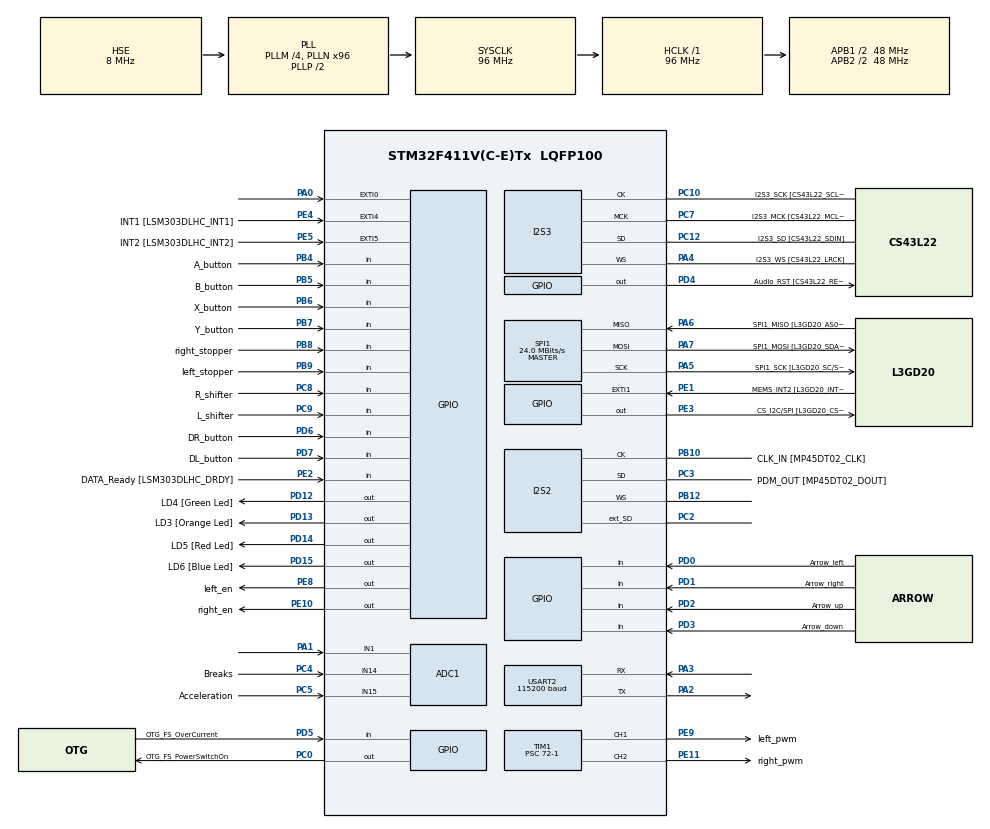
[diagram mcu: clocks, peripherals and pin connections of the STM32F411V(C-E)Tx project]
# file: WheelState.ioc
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ADC1.Channel-0\#ChannelRegularConversion=ADC_CHANNEL_1
ADC1.Channel-6\#ChannelRegularConversion=ADC_CHANNEL_14
ADC1.Channel-7\#ChannelRegularConversion=ADC_CHANNEL_15
ADC1.ContinuousConvMode=DISABLE
ADC1.DiscontinuousConvMode=DISABLE
ADC1.InjNumberOfConversion=0
ADC1.NbrOfConversion=3
ADC1.NbrOfConversionFlag=1
ADC1.Rank-6\#ChannelRegularConversion=2
ADC1.Rank-7\#ChannelRegularConversion=3
ADC1.SamplingTime-6\#ChannelRegularConversion=ADC_SAMPLETIME_480CYCLES
ADC1.SamplingTime-7\#ChannelRegularConversion=ADC_SAMPLETIME_480CYCLES
ADC1.master=1
Dma.ADC1.0.Direction=DMA_PERIPH_TO_MEMORY
Dma.ADC1.0.FIFOMode=DMA_FIFOMODE_DISABLE
Dma.ADC1.0.Instance=DMA2_Stream0
Dma.ADC1.0.MemDataAlignment=DMA_MDATAALIGN_HALFWORD
Dma.ADC1.0.MemInc=DMA_MINC_ENABLE
Dma.ADC1.0.Mode=DMA_CIRCULAR
Dma.ADC1.0.PeriphDataAlignment=DMA_PDATAALIGN_HALFWORD
Dma.ADC1.0.PeriphInc=DMA_PINC_DISABLE
Dma.ADC1.0.Priority=DMA_PRIORITY_LOW
Dma.Request0=ADC1
I2S2.AudioFreq=I2S_AUDIOFREQ_96K
I2S2.ErrorAudioFreq=-0.79 %
I2S2.FullDuplexMode=I2S_FULLDUPLEXMODE_ENABLE
I2S2.Instance=SPI$Index
I2S2.RealAudioFreq=95.238 KHz
I2S2.VirtualMode=I2S_MODE_MASTER
I2S3.AudioFreq=I2S_AUDIOFREQ_96K
I2S3.ErrorAudioFreq=-2.34 %
I2S3.FullDuplexMode=I2S_FULLDUPLEXMODE_DISABLE
I2S3.Instance=SPI$Index
I2S3.RealAudioFreq=93.75 KHz
I2S3.VirtualMode=I2S_MODE_MASTER
Mcu.Family=STM32F4
Mcu.Name=STM32F411V(C-E)Tx
Mcu.Package=LQFP100
NVIC.ADC_IRQn=true\:0\:0\:false\:false\:true\:true\:true\:true
NVIC.DMA2_Stream0_IRQn=true\:0\:0\:false\:false\:true\:false\:true\:true
NVIC.PriorityGroup=NVIC_PRIORITYGROUP_0
PA0-WKUP.GPIO_ModeDefaultEXTI=GPIO_MODE_EVT_RISING
PA0-WKUP.Signal=GPXTI0
PA1.Signal=ADCx_IN1
PA10.GPIO_Label=OTG_FS_ID
PA10.Signal=USB_OTG_FS_ID
PA11.GPIO_Label=OTG_FS_DM
PA11.Signal=USB_OTG_FS_DM
PA12.GPIO_Label=OTG_FS_DP
PA12.Signal=USB_OTG_FS_DP
PA13.GPIO_Label=SWDIO
PA13.Mode=Serial_Wire
PA13.Signal=SYS_JTMS-SWDIO
PA14.GPIO_Label=SWCLK
PA14.Mode=Serial_Wire
PA14.Signal=SYS_JTCK-SWCLK
PA2.Mode=Asynchronous
PA2.Signal=USART2_TX
PA3.Mode=Asynchronous
PA3.Signal=USART2_RX
PA4.GPIO_Label=I2S3_WS [CS43L22_LRCK]
PA4.GPIO_Mode=GPIO_MODE_AF_PP
PA4.GPIO_PuPd=GPIO_NOPULL
PA4.GPIO_Speed=GPIO_SPEED_FREQ_LOW
PA4.Mode=Half_Duplex_Master
PA4.Signal=I2S3_WS
PA5.GPIO_Label=SPI1_SCK [L3GD20_SC/SPC]
PA5.Mode=Full_Duplex_Master
PA5.Signal=SPI1_SCK
PA6.GPIO_Label=SPI1_MISO [L3GD20_AS0/SDO]
PA6.Mode=Full_Duplex_Master
PA6.Signal=SPI1_MISO
PA7.GPIO_Label=SPI1_MOSI [L3GD20_SDA/SDI/SDO]
PA7.Mode=Full_Duplex_Master
PA7.Signal=SPI1_MOSI
PA9.GPIO_Label=VBUS_FS
PA9.Signal=USB_OTG_FS_VBUS
PB10.GPIO_Label=CLK_IN [MP45DT02_CLK]
PB10.Mode=Full_Duplex_Master
PB10.Signal=I2S2_CK
PB12.Mode=Full_Duplex_Master
PB12.Signal=I2S2_WS
PB3.GPIO_Label=SWO
PB3.Signal=SYS_JTDO-SWO
PB4.GPIO_Label=A_button
PB4.GPIO_PuPd=GPIO_PULLUP
PB4.Signal=GPIO_Input
PB5.GPIO_Label=B_button
PB5.GPIO_PuPd=GPIO_PULLUP
PB5.Signal=GPIO_Input
PB6.GPIO_Label=X_button
PB6.GPIO_PuPd=GPIO_PULLUP
PB6.Signal=GPIO_Input
PB7.GPIO_Label=Y_button
PB7.GPIO_PuPd=GPIO_PULLUP
PB7.Signal=GPIO_Input
PB8.GPIO_Label=right_stopper
PB8.GPIO_PuPd=GPIO_PULLUP
PB8.Signal=GPIO_Input
PB9.GPIO_Label=left_stopper
PB9.GPIO_PuPd=GPIO_PULLUP
PB9.Signal=GPIO_Input
PC0.GPIO_Label=OTG_FS_PowerSwitchOn
PC0.PinState=GPIO_PIN_SET
PC0.Signal=GPIO_Output
PC10.GPIO_Label=I2S3_SCK [CS43L22_SCLK]
PC10.GPIO_Mode=GPIO_MODE_AF_PP
PC10.GPIO_PuPd=GPIO_NOPULL
PC10.GPIO_Speed=GPIO_SPEED_FREQ_LOW
PC10.Mode=Half_Duplex_Master
PC10.Signal=I2S3_CK
PC12.GPIO_Label=I2S3_SD [CS43L22_SDIN]
PC12.GPIO_Mode=GPIO_MODE_AF_PP
PC12.GPIO_PuPd=GPIO_NOPULL
PC12.GPIO_Speed=GPIO_SPEED_FREQ_LOW
PC12.Mode=Half_Duplex_Master
PC12.Signal=I2S3_SD
PC14-OSC32_IN.GPIO_Label=PC14-OSC32_IN
PC14-OSC32_IN.Signal=RCC_OSC32_IN
PC15-OSC32_OUT.GPIO_Label=PC15-OSC32_OUT
PC15-OSC32_OUT.Signal=RCC_OSC32_OUT
PC2.Mode=Full_Duplex_Master
PC2.Signal=I2S2_ext_SD
PC3.GPIO_Label=PDM_OUT [MP45DT02_DOUT]
PC3.Mode=Full_Duplex_Master
PC3.Signal=I2S2_SD
PC4.GPIO_Label=Breaks
PC4.Signal=ADCx_IN14
PC5.GPIO_Label=Acceleration
PC5.Signal=ADCx_IN15
PC7.GPIO_Label=I2S3_MCK [CS43L22_MCLK]
PC7.GPIO_Mode=GPIO_MODE_AF_PP
PC7.GPIO_PuPd=GPIO_NOPULL
PC7.GPIO_Speed=GPIO_SPEED_FREQ_LOW
PC7.Mode=Master_Clock_Activated
PC7.Signal=I2S3_MCK
PC8.GPIO_Label=R_shifter
PC8.GPIO_PuPd=GPIO_PULLDOWN
PC8.Signal=GPIO_Input
PC9.GPIO_Label=L_shifter
PC9.GPIO_PuPd=GPIO_PULLDOWN
PC9.Signal=GPIO_Input
PD0.GPIO_Label=Arrow_left
PD0.GPIO_PuPd=GPIO_PULLUP
PD0.Signal=GPIO_Input
PD1.GPIO_Label=Arrow_right
PD1.GPIO_PuPd=GPIO_PULLUP
PD1.Signal=GPIO_Input
PD12.GPIO_Label=LD4 [Green Led]
PD12.GPIO_PuPd=GPIO_NOPULL
PD12.GPIO_Speed=GPIO_SPEED_FREQ_LOW
PD12.Signal=GPIO_Output
PD13.GPIO_Label=LD3 [Orange Led]
PD13.GPIO_PuPd=GPIO_NOPULL
PD13.GPIO_Speed=GPIO_SPEED_FREQ_LOW
PD13.Signal=GPIO_Output
PD14.GPIO_Label=LD5 [Red Led]
PD14.GPIO_PuPd=GPIO_NOPULL
PD14.GPIO_Speed=GPIO_SPEED_FREQ_LOW
PD14.PinState=GPIO_PIN_SET
PD14.Signal=GPIO_Output
PD15.GPIO_Label=LD6 [Blue Led]
PD15.GPIO_PuPd=GPIO_NOPULL
PD15.GPIO_Speed=GPIO_SPEED_FREQ_LOW
PD15.Signal=GPIO_Output
PD2.GPIO_Label=Arrow_up
PD2.GPIO_PuPd=GPIO_PULLUP
PD2.Signal=GPIO_Input
PD3.GPIO_Label=Arrow_down
PD3.GPIO_PuPd=GPIO_PULLUP
PD3.Signal=GPIO_Input
PD4.GPIO_Label=Audio_RST [CS43L22_RESET]
PD4.Signal=GPIO_Output
PD5.GPIO_Label=OTG_FS_OverCurrent
PD5.Signal=GPIO_Input
PD6.GPIO_Label=DR_button
PD6.GPIO_PuPd=GPIO_PULLUP
PD6.Signal=GPIO_Input
PD7.GPIO_Label=DL_button
PD7.GPIO_PuPd=GPIO_PULLUP
PD7.Signal=GPIO_Input
PE1.GPIO_Label=MEMS_INT2 [L3GD20_INT2]
PE1.GPIO_ModeDefaultEXTI=GPIO_MODE_EVT_RISING
PE1.Signal=GPXTI1
PE10.GPIO_Label=right_en
PE10.Signal=GPIO_Output
PE11.GPIO_Label=right_pwm
PE11.Signal=S_TIM1_CH2
PE2.GPIO_Label=DATA_Ready [LSM303DLHC_DRDY]
PE2.Signal=GPIO_Input
PE3.GPIO_Label=CS_I2C/SPI [L3GD20_CS_I2C/SPI]
PE3.Signal=GPIO_Output
PE4.GPIO_Label=INT1 [LSM303DLHC_INT1]
PE4.GPIO_ModeDefaultEXTI=GPIO_MODE_EVT_RISING
PE4.Signal=GPXTI4
PE5.GPIO_Label=INT2 [LSM303DLHC_INT2]
PE5.GPIO_ModeDefaultEXTI=GPIO_MODE_EVT_RISING
PE5.Signal=GPXTI5
PE8.GPIO_Label=left_en
PE8.Signal=GPIO_Output
PE9.GPIO_Label=left_pwm
PE9.Signal=S_TIM1_CH1
PH0\ -\ OSC_IN.Mode=HSE-External-Oscillator
PH0\ -\ OSC_IN.Signal=RCC_OSC_IN
PH1\ -\ OSC_OUT.Mode=HSE-External-Oscillator
PH1\ -\ OSC_OUT.Signal=RCC_OSC_OUT
ProjectManager.HeapSize=0x200
ProjectManager.StackSize=0x400
ProjectManager.TargetToolchain=STM32CubeIDE
RCC.48MHZClocksFreq_Value=48000000
RCC.AHBFreq_Value=96000000
RCC.APB1CLKDivider=RCC_HCLK_DIV2
RCC.APB1Freq_Value=48000000
RCC.APB1TimFreq_Value=96000000
RCC.APB2CLKDivider=RCC_HCLK_DIV2
RCC.APB2Freq_Value=48000000
RCC.APB2TimFreq_Value=96000000
RCC.CortexFreq_Value=96000000
RCC.HCLKFreq_Value=96000000
RCC.HSE_VALUE=8000000
RCC.HSI_VALUE=16000000
RCC.LSE_VALUE=32768
RCC.PLLI2SM=4
RCC.PLLM=4
RCC.PLLN=96
RCC.PLLSourceVirtual=RCC_PLLSOURCE_HSE
RCC.SYSCLKFreq_VALUE=96000000
RCC.SYSCLKSource=RCC_SYSCLKSOURCE_PLLCLK
RCC.VCOOutputFreq_Value=192000000
SH.ADCx_IN1.0=ADC1_IN1,IN1
SH.ADCx_IN14.0=ADC1_IN14,IN14
SH.ADCx_IN15.0=ADC1_IN15,IN15
SH.S_TIM1_CH1.0=TIM1_CH1,PWM Generation1 CH1
SH.S_TIM1_CH2.0=TIM1_CH2,PWM Generation2 CH2
SPI1.BaudRatePrescaler=SPI_BAUDRATEPRESCALER_2
SPI1.CalculateBaudRate=24.0 MBits/s
SPI1.Direction=SPI_DIRECTION_2LINES
SPI1.Mode=SPI_MODE_MASTER
SPI1.VirtualType=VM_MASTER
TIM1.Channel-PWM\ Generation1\ CH1=TIM_CHANNEL_1
TIM1.Channel-PWM\ Generation2\ CH2=TIM_CHANNEL_2
TIM1.Prescaler=72-1
USART2.BaudRate=115200
USART2.Parity=PARITY_NONE
USART2.VirtualMode=VM_ASYNC
VP_TIM1_VS_ClockSourceINT.Mode=Internal
board=STM32F411E-DISCO

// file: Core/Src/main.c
/* USER CODE BEGIN Header */
/**
  ******************************************************************************
  * @file           : main.c
  * @brief          : Main program body
  ******************************************************************************
  * @attention
  *
  * Copyright (c) 2024 STMicroelectronics.
  * All rights reserved.
  *
  * This software is licensed under terms that can be found in the LICENSE file
  * in the root directory of this software component.
  * If no LICENSE file comes with this software, it is provided AS-IS.
  *
  ******************************************************************************
  */
/* USER CODE END Header */
#include "main.h"

/* USER CODE BEGIN Includes */
#include <string.h>
/* USER CODE END Includes */

/* USER CODE BEGIN PD */
//#define CRC_16 0xFFFF
/* USER CODE END PD */

ADC_HandleTypeDef hadc1;
DMA_HandleTypeDef hdma_adc1;

I2S_HandleTypeDef hi2s2;
I2S_HandleTypeDef hi2s3;

SPI_HandleTypeDef hspi1;

TIM_HandleTypeDef htim1;

UART_HandleTypeDef huart2;

/* USER CODE BEGIN PV */
int MOTOR_LIMITER_DO_NOT_TOUCH = 0.05 * 65535;
/* USER CODE END PV */

void SystemClock_Config(void);
void PeriphCommonClock_Config(void);
static void MX_GPIO_Init(void);
static void MX_DMA_Init(void);
static void MX_I2S2_Init(void);
static void MX_I2S3_Init(void);
static void MX_SPI1_Init(void);
static void MX_ADC1_Init(void);
static void MX_USART2_UART_Init(void);
static void MX_TIM1_Init(void);

/* USER CODE BEGIN 0 */
#pragma pack(1)
typedef struct{
	uint16_t rotation;

	uint8_t left_arr:1;
	uint8_t right_arr:1;
	uint8_t up_arr:1;
	uint8_t down_arr:1;

	uint8_t a_butt:1;
	uint8_t b_butt:1;
	uint8_t x_butt:1;
	uint8_t y_butt:1;

	uint8_t dl_butt:1;
	uint8_t dr_butt:1;

	uint8_t r_shift:1;
	uint8_t l_shift:1;

	uint16_t acceleration;
	uint16_t breaking;
} WheelSystemState;
#pragma pack()
uint16_t get_i(WheelSystemState buffer, int i){
	switch(i){
	case 0: return buffer.rotation;
	case 1: return (uint16_t)buffer.left_arr;
	case 2: return (uint16_t)buffer.right_arr;
	case 3: return (uint16_t)buffer.up_arr;
	case 4: return (uint16_t)buffer.down_arr;
	case 5: return (uint16_t)buffer.a_butt;
	case 6: return (uint16_t)buffer.b_butt;
	case 7: return (uint16_t)buffer.x_butt;
	case 8: return (uint16_t)buffer.y_butt;
	case 9: return (uint16_t)buffer.dl_butt;
	case 10: return (uint16_t)buffer.dr_butt;
	case 11: return (uint16_t)buffer.r_shift;
	case 12: return (uint16_t)buffer.l_shift;
	case 13: return buffer.acceleration;
	case 14: return buffer.breaking;

	}
}

uint16_t calc_crc16_checksum(WheelSystemState buffer){
	uint16_t crc = 0xFFFF;
	for (int i = 1; i <= 7; i++){
		crc ^= get_i(buffer, i);
		for (int j =0; j<8;j++){
			if(crc & 0x0001){
				crc >>=1;
				crc ^=0xA001;
			}else{
				crc >>=1;
			}
		}
	}
	return crc;
}
uint16_t center = 0;
uint16_t delta = 0;
uint16_t left_max = 0;
uint16_t right_max = 0;
uint16_t break_start = 4100;
uint16_t break_end = 1250;
uint16_t acceleration_start = 4100;
uint16_t acceleration_end = 1250;
void send_to_pc(WheelSystemState *state){
	uint8_t buffer[9];

	buffer[0] = (uint8_t)'S';
	memcpy(&buffer[1], &state->rotation, 2);

	buffer[3] = (state->left_arr)?1:0;
	buffer[3] += (state->right_arr)?2:0;
	buffer[3] += (state->down_arr)?4:0;
	buffer[3] += (state->up_arr)?8:0;

	buffer[3] += (state->a_butt)?16:0;
	buffer[3] += (state->b_butt)?32:0;
	buffer[3] += (state->x_butt)?64:0;
	buffer[3] += (state->y_butt)?128:0;

	buffer[4] = (state->dl_butt)?1:0;
	buffer[4] += (state->dr_butt)?2:0;
	buffer[4] += (state->r_shift)?4:0;
	buffer[4] += (state->l_shift)?8:0;

	memcpy(&buffer[5], &state->acceleration, 2);
	memcpy(&buffer[7], &state->breaking, 2);
	HAL_UART_Transmit(&huart2, buffer, sizeof(buffer), HAL_MAX_DELAY);
//	CDC_Transmit_FS(buffer, sizeof(buffer));
//	HAL_Delay(100);
 }
uint16_t wheel[3];
void calibration(){
	uint8_t flag1 = 0;
	uint8_t flag2 = 0;
	uint8_t buffer[4];
	int left_stopper;
	int right_stopper;
	HAL_GPIO_WritePin(left_en_GPIO_Port, left_en_Pin, 1);
	HAL_GPIO_WritePin(right_en_GPIO_Port, right_en_Pin, 1);
//	TIM1->CCR1 = 0;
//	TIM1->CCR2 = 5000;
	while(1 == 1){
	    HAL_ADC_Start_DMA(&hadc1, wheel, 3);
		left_stopper = HAL_GPIO_ReadPin(left_stopper_GPIO_Port, left_stopper_Pin);
		right_stopper = HAL_GPIO_ReadPin(right_stopper_GPIO_Port, right_stopper_Pin);
		if (left_stopper == 0 && right_stopper == 1){
			flag1 = 1;
//			right_max = wheel[0] - 200;
			TIM1->CCR2 = 0;
			TIM1->CCR1 = 0;
			HAL_Delay(100);
			HAL_ADC_Start_DMA(&hadc1, wheel, 3);
			wheel[0] += 10;
			memcpy(&buffer[0], &(wheel[0]), 2);
			HAL_Delay(100);
//			TIM1->CCR2 = 0;
//			TIM1->CCR1 = 5000;

		}else if(left_stopper == 1 && right_stopper == 0){
			flag2 = 1;
//			left_max = wheel[0]  +200;
			TIM1->CCR2= 0 ;
			TIM1->CCR1 = 0;
			HAL_Delay(100);
			HAL_ADC_Start_DMA(&hadc1, wheel, 3);
			wheel[0] -= 10;
			memcpy(&buffer[2], &(wheel[0]), 2);
			HAL_Delay(100);
//			TIM1->CCR2 = 0;
//			TIM1->CCR1 = 5000;
		}
		if (flag1 == 1 && flag2 == 1){
//			TIM1->CCR1 = 0;
//			TIM1->CCR2 = 0;
			HAL_UART_Transmit(&huart2, buffer, sizeof(buffer), HAL_MAX_DELAY);
			return;

		}
		left_stopper = 0;
		right_stopper = 0;
	}

}
void dim(){

	TIM1->CCR1 = 60000;
	while(TIM1->CCR2 > 0){
		TIM1->CCR2 -= 60;
	}
}
void light_up(){
	TIM1->CCR2 = 0;
	while(TIM1->CCR2 < 60){
		TIM1->CCR2 += 6;
	}
}
enum effect_type{
	CONSTANT_FORCE = 0x01,
	RAMP = 0x02,
	FRICTION = 0x03
};
void ffb_handler(WheelSystemState state){

	uint8_t read_buf[1];
	HAL_UART_Receive(&huart2, read_buf, 1, HAL_MAX_DELAY);
	if (read_buf[0] == CONSTANT_FORCE){
		int16_t value = 0;
		uint8_t magn_buffer[2];
		HAL_UART_Receive(&huart2, magn_buffer, 2, HAL_MAX_DELAY);
		value = magn_buffer[0] << 8 | magn_buffer[1];
		value = value / 3; // scale to 6 %
		if (value > 0){
			value = abs(value);
			TIM1->CCR1 = 0;
			TIM1->CCR2 = value;
		}else{
			value = abs(value);
			TIM1->CCR2 = 0;
			TIM1->CCR1 = value;
		}
	}
}
/* USER CODE END 0 */

int main(void)
{

  /* MCU Configuration--------------------------------------------------------*/

  /* Reset of all peripherals, Initializes the Flash interface and the Systick. */
  HAL_Init();

  /* Configure the system clock */
  SystemClock_Config();

  /* Configure the peripherals common clocks */
  PeriphCommonClock_Config();

  /* Initialize all configured peripherals */
  MX_GPIO_Init();
  MX_DMA_Init();
  MX_I2S2_Init();
  MX_I2S3_Init();
  MX_SPI1_Init();
  MX_ADC1_Init();
  MX_USART2_UART_Init();
  MX_TIM1_Init();
  /* USER CODE BEGIN 2 */
//  hUsbDeviceFS;
//  uint16_t wheel[3];
  uint16_t rotation = 0;
  uint16_t breaks = 0;
  uint16_t acceleration = 0;

  uint8_t left = 0;
  uint8_t right = 0;
  uint8_t up = 0;
  uint8_t down = 0;

  uint8_t a_butt = 0;
  uint8_t b_butt = 0;
  uint8_t x_butt = 0;
  uint8_t y_butt = 0;

  uint8_t dl_butt = 0;
  uint8_t dr_butt = 0;

  uint8_t r_shift = 0;
  uint8_t l_shift = 0;

  uint8_t flag = 0;

  ADC_ChannelConfTypeDef ADC_CH_Cfg = {0};
  uint32_t ADC_Channels[3] = {ADC_CHANNEL_1, ADC_CHANNEL_14, ADC_CHANNEL_15};

  /* USER CODE END 2 */

  /* Infinite loop */
  /* USER CODE BEGIN WHILE */
  WheelSystemState wheel_state;
  uint8_t read_buf[1];
  HAL_TIM_PWM_Start(&htim1, TIM_CHANNEL_2);
  HAL_TIM_PWM_Start(&htim1, TIM_CHANNEL_1);
//  calibration();
  while (1)
  {
    /* USER CODE END WHILE */

    /* USER CODE BEGIN 3 */
//	  if (flag == 0){
//		  light_up();
//		  flag = 1;
//	  }else{
//		  dim();
//		  flag = 0;
//	  }
//	  HAL_GPIO_WritePin(left_en_GPIO_Port, left_en_Pin, 1);
//	  HAL_GPIO_WritePin(right_en_GPIO_Port, right_en_Pin, 1);
//	  TIM1->CCR1 = 13107; // higher is faster
//	  TIM1->CCR2 = 0; // higher is faster
    memset(read_buf, 0, sizeof(read_buf));
    HAL_UART_Receive(&huart2, read_buf, sizeof(read_buf), 1000);
    if ((uint8_t)read_buf[0] == 0x42){
    	calibration();
    	continue;
    }
    if ((uint8_t)read_buf[0] == 0x34){
    	ffb_handler(wheel_state);
    	continue;
    }
    if ((uint8_t)read_buf[0] != 0x69){
    	continue;
    }

    memset(read_buf, 0, sizeof(read_buf));

    /*Arrows*/
    left = HAL_GPIO_ReadPin(Arrow_left_GPIO_Port, Arrow_left_Pin);
    right = HAL_GPIO_ReadPin(Arrow_right_GPIO_Port, Arrow_right_Pin);
    up = HAL_GPIO_ReadPin(Arrow_up_GPIO_Port, Arrow_up_Pin);
    down = HAL_GPIO_ReadPin(Arrow_down_GPIO_Port, Arrow_down_Pin);

    /*Shifters*/
    r_shift = HAL_GPIO_ReadPin(R_shifter_GPIO_Port, R_shifter_Pin);
	l_shift = HAL_GPIO_ReadPin(L_shifter_GPIO_Port, L_shifter_Pin);

    /*Main buttons*/
    a_butt = HAL_GPIO_ReadPin(A_button_GPIO_Port, A_button_Pin);
    b_butt = HAL_GPIO_ReadPin(B_button_GPIO_Port, B_button_Pin);
    x_butt = HAL_GPIO_ReadPin(X_button_GPIO_Port, X_button_Pin);
    y_butt = HAL_GPIO_ReadPin(Y_button_GPIO_Port, Y_button_Pin);

	/*Menu buttons*/
    dl_butt = HAL_GPIO_ReadPin(DL_button_GPIO_Port, DL_button_Pin);
    dr_butt = HAL_GPIO_ReadPin(DR_button_GPIO_Port, DR_button_Pin);

    HAL_ADC_Start_DMA(&hadc1, wheel, 3);
	rotation = wheel[0];
	breaks = wheel[2];
	acceleration = wheel[1];

	wheel_state.rotation = rotation;

	wheel_state.a_butt = (a_butt==0)?1:0;
	wheel_state.b_butt = (b_butt==0)?1:0;
	wheel_state.x_butt = (x_butt==0)?1:0;
	wheel_state.y_butt = (y_butt==0)?1:0;

	wheel_state.up_arr = (up==0)?1:0;
	wheel_state.down_arr = (down==0)?1:0;
	wheel_state.right_arr = (right==0)?1:0;
	wheel_state.left_arr = (left==0)?1:0;

	wheel_state.dl_butt = (dl_butt==0)?1:0;
	wheel_state.dr_butt = (dr_butt==0)?1:0;

	wheel_state.r_shift = (r_shift==1)?1:0;
	wheel_state.l_shift = (l_shift==1)?1:0;

	wheel_state.acceleration = acceleration;
	wheel_state.breaking = breaks;

//	uint8_t data[] = "Hello world\n";
//	HAL_UART_Transmit(&huart2, data, 12, 1000);
//	CDC_Transmit_FS(data, sizeof(data));
	send_to_pc(&wheel_state);
//	ffb_handler(wheel_state);
//	left = 0;
//	right = 0;
//	up = 0;
//	down = 0;
//
//	r_shift = 0;
//	l_shift = 0;
//
//	a_butt = 0;
//	b_butt = 0;
//	x_butt = 0;
//	y_butt = 0;
//
//	dl_butt = 0;ilil
//	dr_butt = 0;
//
//	analog_val = 0;

    HAL_ADC_Stop(&hadc1);
//    HAL_Delay(100);

  }
  /* USER CODE END 3 */
}

void SystemClock_Config(void)
{
  RCC_OscInitTypeDef RCC_OscInitStruct = {0};
  RCC_ClkInitTypeDef RCC_ClkInitStruct = {0};

  /** Configure the main internal regulator output voltage
  */
  __HAL_RCC_PWR_CLK_ENABLE();
  __HAL_PWR_VOLTAGESCALING_CONFIG(PWR_REGULATOR_VOLTAGE_SCALE1);

  /** Initializes the RCC Oscillators according to the specified parameters
  * in the RCC_OscInitTypeDef structure.
  */
  RCC_OscInitStruct.OscillatorType = RCC_OSCILLATORTYPE_HSE;
  RCC_OscInitStruct.HSEState = RCC_HSE_ON;
  RCC_OscInitStruct.PLL.PLLState = RCC_PLL_ON;
  RCC_OscInitStruct.PLL.PLLSource = RCC_PLLSOURCE_HSE;
  RCC_OscInitStruct.PLL.PLLM = 4;
  RCC_OscInitStruct.PLL.PLLN = 96;
  RCC_OscInitStruct.PLL.PLLP = RCC_PLLP_DIV2;
  RCC_OscInitStruct.PLL.PLLQ = 4;
  if (HAL_RCC_OscConfig(&RCC_OscInitStruct) != HAL_OK)
  {
    Error_Handler();
  }

  /** Initializes the CPU, AHB and APB buses clocks
  */
  RCC_ClkInitStruct.ClockType = RCC_CLOCKTYPE_HCLK|RCC_CLOCKTYPE_SYSCLK
                              |RCC_CLOCKTYPE_PCLK1|RCC_CLOCKTYPE_PCLK2;
  RCC_ClkInitStruct.SYSCLKSource = RCC_SYSCLKSOURCE_PLLCLK;
  RCC_ClkInitStruct.AHBCLKDivider = RCC_SYSCLK_DIV1;
  RCC_ClkInitStruct.APB1CLKDivider = RCC_HCLK_DIV2;
  RCC_ClkInitStruct.APB2CLKDivider = RCC_HCLK_DIV2;

  if (HAL_RCC_ClockConfig(&RCC_ClkInitStruct, FLASH_LATENCY_3) != HAL_OK)
  {
    Error_Handler();
  }
}

void PeriphCommonClock_Config(void)
{
  RCC_PeriphCLKInitTypeDef PeriphClkInitStruct = {0};

  /** Initializes the peripherals clock
  */
  PeriphClkInitStruct.PeriphClockSelection = RCC_PERIPHCLK_I2S;
  PeriphClkInitStruct.PLLI2S.PLLI2SN = 192;
  PeriphClkInitStruct.PLLI2S.PLLI2SM = 4;
  PeriphClkInitStruct.PLLI2S.PLLI2SR = 2;
  if (HAL_RCCEx_PeriphCLKConfig(&PeriphClkInitStruct) != HAL_OK)
  {
    Error_Handler();
  }
}

static void MX_ADC1_Init(void)
{

  ADC_ChannelConfTypeDef sConfig = {0};

  /** Configure the global features of the ADC (Clock, Resolution, Data Alignment and number of conversion)
  */
  hadc1.Instance = ADC1;
  hadc1.Init.ClockPrescaler = ADC_CLOCK_SYNC_PCLK_DIV2;
  hadc1.Init.Resolution = ADC_RESOLUTION_12B;
  hadc1.Init.ScanConvMode = ENABLE;
  hadc1.Init.ContinuousConvMode = DISABLE;
  hadc1.Init.DiscontinuousConvMode = DISABLE;
  hadc1.Init.ExternalTrigConvEdge = ADC_EXTERNALTRIGCONVEDGE_NONE;
  hadc1.Init.ExternalTrigConv = ADC_SOFTWARE_START;
  hadc1.Init.DataAlign = ADC_DATAALIGN_RIGHT;
  hadc1.Init.NbrOfConversion = 3;
  hadc1.Init.DMAContinuousRequests = DISABLE;
  hadc1.Init.EOCSelection = ADC_EOC_SINGLE_CONV;
  if (HAL_ADC_Init(&hadc1) != HAL_OK)
  {
    Error_Handler();
  }

  /** Configure for the selected ADC regular channel its corresponding rank in the sequencer and its sample time.
  */
  sConfig.Channel = ADC_CHANNEL_1;
  sConfig.Rank = 1;
  sConfig.SamplingTime = ADC_SAMPLETIME_3CYCLES;
  if (HAL_ADC_ConfigChannel(&hadc1, &sConfig) != HAL_OK)
  {
    Error_Handler();
  }

  /** Configure for the selected ADC regular channel its corresponding rank in the sequencer and its sample time.
  */
  sConfig.Channel = ADC_CHANNEL_14;
  sConfig.Rank = 2;
  sConfig.SamplingTime = ADC_SAMPLETIME_480CYCLES;
  if (HAL_ADC_ConfigChannel(&hadc1, &sConfig) != HAL_OK)
  {
    Error_Handler();
  }

  /** Configure for the selected ADC regular channel its corresponding rank in the sequencer and its sample time.
  */
  sConfig.Channel = ADC_CHANNEL_15;
  sConfig.Rank = 3;
  if (HAL_ADC_ConfigChannel(&hadc1, &sConfig) != HAL_OK)
  {
    Error_Handler();
  }

}

static void MX_I2S2_Init(void)
{

  hi2s2.Instance = SPI2;
  hi2s2.Init.Mode = I2S_MODE_MASTER_TX;
  hi2s2.Init.Standard = I2S_STANDARD_PHILIPS;
  hi2s2.Init.DataFormat = I2S_DATAFORMAT_16B;
  hi2s2.Init.MCLKOutput = I2S_MCLKOUTPUT_DISABLE;
  hi2s2.Init.AudioFreq = I2S_AUDIOFREQ_96K;
  hi2s2.Init.CPOL = I2S_CPOL_LOW;
  hi2s2.Init.ClockSource = I2S_CLOCK_PLL;
  hi2s2.Init.FullDuplexMode = I2S_FULLDUPLEXMODE_ENABLE;
  if (HAL_I2S_Init(&hi2s2) != HAL_OK)
  {
    Error_Handler();
  }

}

static void MX_I2S3_Init(void)
{

  hi2s3.Instance = SPI3;
  hi2s3.Init.Mode = I2S_MODE_MASTER_TX;
  hi2s3.Init.Standard = I2S_STANDARD_PHILIPS;
  hi2s3.Init.DataFormat = I2S_DATAFORMAT_16B;
  hi2s3.Init.MCLKOutput = I2S_MCLKOUTPUT_ENABLE;
  hi2s3.Init.AudioFreq = I2S_AUDIOFREQ_96K;
  hi2s3.Init.CPOL = I2S_CPOL_LOW;
  hi2s3.Init.ClockSource = I2S_CLOCK_PLL;
  hi2s3.Init.FullDuplexMode = I2S_FULLDUPLEXMODE_DISABLE;
  if (HAL_I2S_Init(&hi2s3) != HAL_OK)
  {
    Error_Handler();
  }

}

static void MX_SPI1_Init(void)
{

  /* SPI1 parameter configuration*/
  hspi1.Instance = SPI1;
  hspi1.Init.Mode = SPI_MODE_MASTER;
  hspi1.Init.Direction = SPI_DIRECTION_2LINES;
  hspi1.Init.DataSize = SPI_DATASIZE_8BIT;
  hspi1.Init.CLKPolarity = SPI_POLARITY_LOW;
  hspi1.Init.CLKPhase = SPI_PHASE_1EDGE;
  hspi1.Init.NSS = SPI_NSS_SOFT;
  hspi1.Init.BaudRatePrescaler = SPI_BAUDRATEPRESCALER_2;
  hspi1.Init.FirstBit = SPI_FIRSTBIT_MSB;
  hspi1.Init.TIMode = SPI_TIMODE_DISABLE;
  hspi1.Init.CRCCalculation = SPI_CRCCALCULATION_DISABLE;
  hspi1.Init.CRCPolynomial = 10;
  if (HAL_SPI_Init(&hspi1) != HAL_OK)
  {
    Error_Handler();
  }

}

static void MX_TIM1_Init(void)
{

  TIM_ClockConfigTypeDef sClockSourceConfig = {0};
  TIM_MasterConfigTypeDef sMasterConfig = {0};
  TIM_OC_InitTypeDef sConfigOC = {0};
  TIM_BreakDeadTimeConfigTypeDef sBreakDeadTimeConfig = {0};

  htim1.Instance = TIM1;
  htim1.Init.Prescaler = 72-1;
  htim1.Init.CounterMode = TIM_COUNTERMODE_UP;
  htim1.Init.Period = 65535;
  htim1.Init.ClockDivision = TIM_CLOCKDIVISION_DIV1;
  htim1.Init.RepetitionCounter = 0;
  htim1.Init.AutoReloadPreload = TIM_AUTORELOAD_PRELOAD_DISABLE;
  if (HAL_TIM_Base_Init(&htim1) != HAL_OK)
  {
    Error_Handler();
  }
  sClockSourceConfig.ClockSource = TIM_CLOCKSOURCE_INTERNAL;
  if (HAL_TIM_ConfigClockSource(&htim1, &sClockSourceConfig) != HAL_OK)
  {
    Error_Handler();
  }
  if (HAL_TIM_PWM_Init(&htim1) != HAL_OK)
  {
    Error_Handler();
  }
  sMasterConfig.MasterOutputTrigger = TIM_TRGO_RESET;
  sMasterConfig.MasterSlaveMode = TIM_MASTERSLAVEMODE_DISABLE;
  if (HAL_TIMEx_MasterConfigSynchronization(&htim1, &sMasterConfig) != HAL_OK)
  {
    Error_Handler();
  }
  sConfigOC.OCMode = TIM_OCMODE_PWM1;
  sConfigOC.Pulse = 0;
  sConfigOC.OCPolarity = TIM_OCPOLARITY_HIGH;
  sConfigOC.OCNPolarity = TIM_OCNPOLARITY_HIGH;
  sConfigOC.OCFastMode = TIM_OCFAST_DISABLE;
  sConfigOC.OCIdleState = TIM_OCIDLESTATE_RESET;
  sConfigOC.OCNIdleState = TIM_OCNIDLESTATE_RESET;
  if (HAL_TIM_PWM_ConfigChannel(&htim1, &sConfigOC, TIM_CHANNEL_1) != HAL_OK)
  {
    Error_Handler();
  }
  if (HAL_TIM_PWM_ConfigChannel(&htim1, &sConfigOC, TIM_CHANNEL_2) != HAL_OK)
  {
    Error_Handler();
  }
  sBreakDeadTimeConfig.OffStateRunMode = TIM_OSSR_DISABLE;
  sBreakDeadTimeConfig.OffStateIDLEMode = TIM_OSSI_DISABLE;
  sBreakDeadTimeConfig.LockLevel = TIM_LOCKLEVEL_OFF;
  sBreakDeadTimeConfig.DeadTime = 0;
  sBreakDeadTimeConfig.BreakState = TIM_BREAK_DISABLE;
  sBreakDeadTimeConfig.BreakPolarity = TIM_BREAKPOLARITY_HIGH;
  sBreakDeadTimeConfig.AutomaticOutput = TIM_AUTOMATICOUTPUT_DISABLE;
  if (HAL_TIMEx_ConfigBreakDeadTime(&htim1, &sBreakDeadTimeConfig) != HAL_OK)
  {
    Error_Handler();
  }
  HAL_TIM_MspPostInit(&htim1);

}

static void MX_USART2_UART_Init(void)
{

  huart2.Instance = USART2;
  huart2.Init.BaudRate = 115200;
  huart2.Init.WordLength = UART_WORDLENGTH_8B;
  huart2.Init.StopBits = UART_STOPBITS_1;
  huart2.Init.Parity = UART_PARITY_NONE;
  huart2.Init.Mode = UART_MODE_TX_RX;
  huart2.Init.HwFlowCtl = UART_HWCONTROL_NONE;
  huart2.Init.OverSampling = UART_OVERSAMPLING_16;
  if (HAL_UART_Init(&huart2) != HAL_OK)
  {
    Error_Handler();
  }

}

static void MX_DMA_Init(void)
{

  /* DMA controller clock enable */
  __HAL_RCC_DMA2_CLK_ENABLE();

  /* DMA interrupt init */
  /* DMA2_Stream0_IRQn interrupt configuration */
  HAL_NVIC_SetPriority(DMA2_Stream0_IRQn, 0, 0);
  HAL_NVIC_EnableIRQ(DMA2_Stream0_IRQn);

}

static void MX_GPIO_Init(void)
{
  GPIO_InitTypeDef GPIO_InitStruct = {0};

  /* GPIO Ports Clock Enable */
  __HAL_RCC_GPIOE_CLK_ENABLE();
  __HAL_RCC_GPIOC_CLK_ENABLE();
  __HAL_RCC_GPIOH_CLK_ENABLE();
  __HAL_RCC_GPIOA_CLK_ENABLE();
  __HAL_RCC_GPIOB_CLK_ENABLE();
  __HAL_RCC_GPIOD_CLK_ENABLE();

  /*Configure GPIO pin Output Level */
  HAL_GPIO_WritePin(GPIOE, CS_I2C_SPI_Pin|left_en_Pin|right_en_Pin, GPIO_PIN_RESET);

  /*Configure GPIO pin Output Level */
  HAL_GPIO_WritePin(OTG_FS_PowerSwitchOn_GPIO_Port, OTG_FS_PowerSwitchOn_Pin, GPIO_PIN_SET);

  /*Configure GPIO pin Output Level */
  HAL_GPIO_WritePin(GPIOD, LD4_Pin|LD3_Pin|LD6_Pin|Audio_RST_Pin, GPIO_PIN_RESET);

  /*Configure GPIO pin Output Level */
  HAL_GPIO_WritePin(LD5_GPIO_Port, LD5_Pin, GPIO_PIN_SET);

  /*Configure GPIO pin : DATA_Ready_Pin */
  GPIO_InitStruct.Pin = DATA_Ready_Pin;
  GPIO_InitStruct.Mode = GPIO_MODE_INPUT;
  GPIO_InitStruct.Pull = GPIO_NOPULL;
  HAL_GPIO_Init(DATA_Ready_GPIO_Port, &GPIO_InitStruct);

  /*Configure GPIO pins : CS_I2C_SPI_Pin left_en_Pin right_en_Pin */
  GPIO_InitStruct.Pin = CS_I2C_SPI_Pin|left_en_Pin|right_en_Pin;
  GPIO_InitStruct.Mode = GPIO_MODE_OUTPUT_PP;
  GPIO_InitStruct.Pull = GPIO_NOPULL;
  GPIO_InitStruct.Speed = GPIO_SPEED_FREQ_LOW;
  HAL_GPIO_Init(GPIOE, &GPIO_InitStruct);

  /*Configure GPIO pins : INT1_Pin INT2_Pin MEMS_INT2_Pin */
  GPIO_InitStruct.Pin = INT1_Pin|INT2_Pin|MEMS_INT2_Pin;
  GPIO_InitStruct.Mode = GPIO_MODE_EVT_RISING;
  GPIO_InitStruct.Pull = GPIO_NOPULL;
  HAL_GPIO_Init(GPIOE, &GPIO_InitStruct);

  /*Configure GPIO pin : OTG_FS_PowerSwitchOn_Pin */
  GPIO_InitStruct.Pin = OTG_FS_PowerSwitchOn_Pin;
  GPIO_InitStruct.Mode = GPIO_MODE_OUTPUT_PP;
  GPIO_InitStruct.Pull = GPIO_NOPULL;
  GPIO_InitStruct.Speed = GPIO_SPEED_FREQ_LOW;
  HAL_GPIO_Init(OTG_FS_PowerSwitchOn_GPIO_Port, &GPIO_InitStruct);

  /*Configure GPIO pin : PA0 */
  GPIO_InitStruct.Pin = GPIO_PIN_0;
  GPIO_InitStruct.Mode = GPIO_MODE_EVT_RISING;
  GPIO_InitStruct.Pull = GPIO_NOPULL;
  HAL_GPIO_Init(GPIOA, &GPIO_InitStruct);

  /*Configure GPIO pins : LD4_Pin LD3_Pin LD5_Pin LD6_Pin
                           Audio_RST_Pin */
  GPIO_InitStruct.Pin = LD4_Pin|LD3_Pin|LD5_Pin|LD6_Pin
                          |Audio_RST_Pin;
  GPIO_InitStruct.Mode = GPIO_MODE_OUTPUT_PP;
  GPIO_InitStruct.Pull = GPIO_NOPULL;
  GPIO_InitStruct.Speed = GPIO_SPEED_FREQ_LOW;
  HAL_GPIO_Init(GPIOD, &GPIO_InitStruct);

  /*Configure GPIO pins : R_shifter_Pin L_shifter_Pin */
  GPIO_InitStruct.Pin = R_shifter_Pin|L_shifter_Pin;
  GPIO_InitStruct.Mode = GPIO_MODE_INPUT;
  GPIO_InitStruct.Pull = GPIO_PULLDOWN;
  HAL_GPIO_Init(GPIOC, &GPIO_InitStruct);

  /*Configure GPIO pin : VBUS_FS_Pin */
  GPIO_InitStruct.Pin = VBUS_FS_Pin;
  GPIO_InitStruct.Mode = GPIO_MODE_INPUT;
  GPIO_InitStruct.Pull = GPIO_NOPULL;
  HAL_GPIO_Init(VBUS_FS_GPIO_Port, &GPIO_InitStruct);

  /*Configure GPIO pins : OTG_FS_ID_Pin OTG_FS_DM_Pin OTG_FS_DP_Pin */
  GPIO_InitStruct.Pin = OTG_FS_ID_Pin|OTG_FS_DM_Pin|OTG_FS_DP_Pin;
  GPIO_InitStruct.Mode = GPIO_MODE_AF_PP;
  GPIO_InitStruct.Pull = GPIO_NOPULL;
  GPIO_InitStruct.Speed = GPIO_SPEED_FREQ_VERY_HIGH;
  GPIO_InitStruct.Alternate = GPIO_AF10_OTG_FS;
  HAL_GPIO_Init(GPIOA, &GPIO_InitStruct);

  /*Configure GPIO pins : Arrow_left_Pin Arrow_right_Pin Arrow_up_Pin Arrow_down_Pin
                           DR_button_Pin DL_button_Pin */
  GPIO_InitStruct.Pin = Arrow_left_Pin|Arrow_right_Pin|Arrow_up_Pin|Arrow_down_Pin
                          |DR_button_Pin|DL_button_Pin;
  GPIO_InitStruct.Mode = GPIO_MODE_INPUT;
  GPIO_InitStruct.Pull = GPIO_PULLUP;
  HAL_GPIO_Init(GPIOD, &GPIO_InitStruct);

  /*Configure GPIO pin : OTG_FS_OverCurrent_Pin */
  GPIO_InitStruct.Pin = OTG_FS_OverCurrent_Pin;
  GPIO_InitStruct.Mode = GPIO_MODE_INPUT;
  GPIO_InitStruct.Pull = GPIO_NOPULL;
  HAL_GPIO_Init(OTG_FS_OverCurrent_GPIO_Port, &GPIO_InitStruct);

  /*Configure GPIO pins : A_button_Pin B_button_Pin X_button_Pin Y_button_Pin
                           right_stopper_Pin left_stopper_Pin */
  GPIO_InitStruct.Pin = A_button_Pin|B_button_Pin|X_button_Pin|Y_button_Pin
                          |right_stopper_Pin|left_stopper_Pin;
  GPIO_InitStruct.Mode = GPIO_MODE_INPUT;
  GPIO_InitStruct.Pull = GPIO_PULLUP;
  HAL_GPIO_Init(GPIOB, &GPIO_InitStruct);

}

void Error_Handler(void)
{
  __disable_irq();
  while (1)
  {
  }
}
